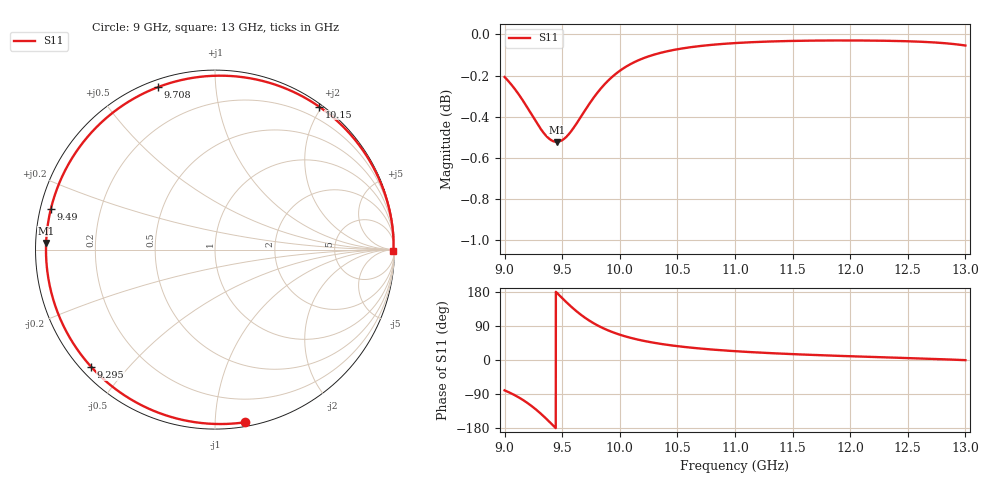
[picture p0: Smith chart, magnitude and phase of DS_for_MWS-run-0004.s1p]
! TOUCHSTONE file generated by CST DESIGN STUDIO
! Date and time: Tue Feb  4 14:20:49 2025
! Project name: C:\Work\MatlabApps\UnitCellOptimizationMatlab\CST\unitcell.cst
! Tree item: Tasks\Sweep1\SPara1\S-Parameters
! Header version: 2024
! Port assignment regex: !\s*Touchstone port\s*([0-9]+)\s*=\s*(CST MWS port|CST DES external port|CST DES block port)\s*(.+)\s* \(\"(.*)\"\)(\s*mode\s*([0-9]+))?.*
! Touchstone port assignment:
! Touchstone port 1 = CST DES external port 1 ("")
# GHz S MA R 50
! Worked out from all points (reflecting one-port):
!   4001 points, 9 GHz to 13 GHz, reference 50 ohm
!   lowest |S11| = -0.5 dB at 9.452 GHz (marker M1), VSWR 33.27, Z = 1.5 + j0.967 ohm
!   phase of S11 starts at -80 deg and turns -280 deg over the sweep
!   S11 on the Smith chart (normalised r, x): 9 GHz: 0.03, -1.19; 9.295 GHz: 0.03, -0.40; 9.49 GHz: 0.03, +0.12; 9.708 GHz: 0.03, +0.71; 10.15 GHz: 0.04, +1.96; 13 GHz: open
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9  0.9764 -80.2
9.092  0.9696 -93.5
9.166  0.963 -106.8
9.232  0.9564 -120.9
9.295  0.9502 -136.5
9.336  0.9466 -147.7
9.379  0.9437 -160.1
9.416  0.9422 -171.2
9.452  0.9416 177.8
9.49  0.9422 166.2
9.5  0.9425 163.2
9.555  0.9455 147.1
9.605  0.9496 133.5
9.655  0.9542 121.1
9.708  0.9593 109.4
9.764  0.9644 98.6
9.828  0.9696 88.0
9.912  0.9753 76.5
10  0.9799 66.8
10.155  0.9854 54.0
10.311  0.989 44.7
10.5  0.9917 36.5
10.722  0.9937 29.6
11  0.9952 23.3
11.5  0.9964 15.5
12  0.9966 9.9
12.5  0.9962 5.1
13  0.9938 -0.4
